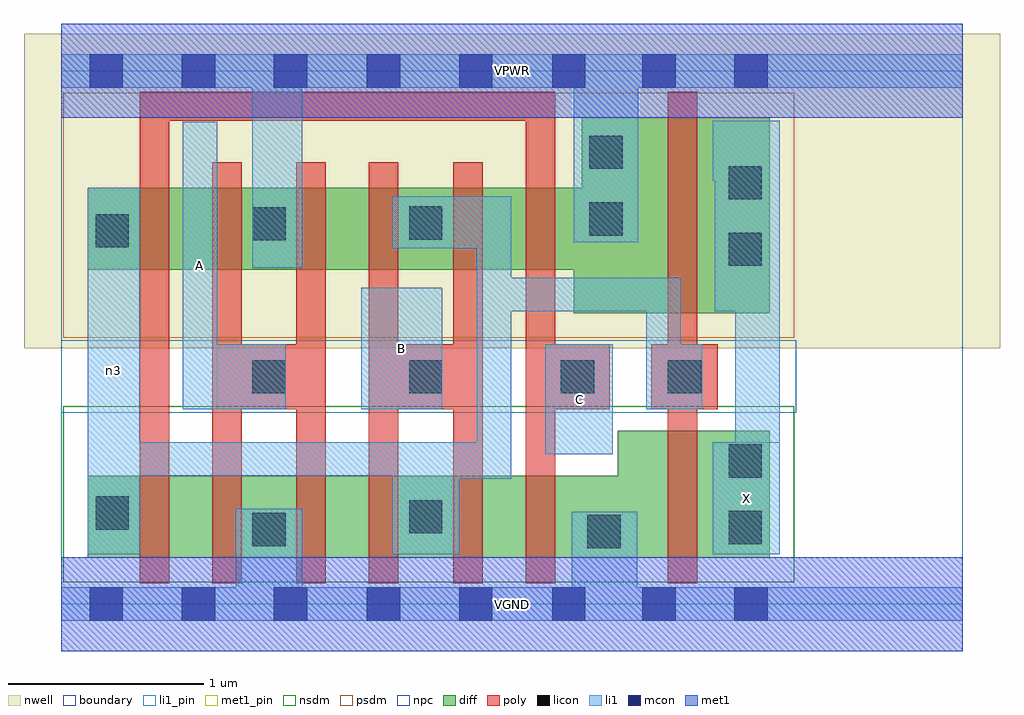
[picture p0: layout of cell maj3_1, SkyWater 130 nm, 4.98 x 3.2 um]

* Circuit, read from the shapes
.subckt maj3_1 A B C VGND VPWR X n3
XM1 n1 C n3 VSUBS sky130_fd_pr__nfet_01v8 w=0.42 l=0.15
XM2 VGND A n1 VSUBS sky130_fd_pr__nfet_01v8 w=0.42 l=0.15
XM3 n2 A VGND VSUBS sky130_fd_pr__nfet_01v8 w=0.42 l=0.15
XM4 n3 B n2 VSUBS sky130_fd_pr__nfet_01v8 w=0.42 l=0.15
XM5 n4 B n3 VSUBS sky130_fd_pr__nfet_01v8 w=0.42 l=0.15
XM6 VGND C n4 VSUBS sky130_fd_pr__nfet_01v8 w=0.42 l=0.15
XM7 X n3 VGND VSUBS sky130_fd_pr__nfet_01v8 w=0.65 l=0.15
XM8 n5 C n3 n6 sky130_fd_pr__pfet_01v8 w=0.42 l=0.15
XM9 VPWR A n5 n6 sky130_fd_pr__pfet_01v8 w=0.42 l=0.15
XM10 n7 A VPWR n6 sky130_fd_pr__pfet_01v8 w=0.42 l=0.15
XM11 n3 B n7 n6 sky130_fd_pr__pfet_01v8 w=0.42 l=0.15
XM12 n8 B n3 n6 sky130_fd_pr__pfet_01v8 w=0.42 l=0.15
XM13 VPWR C n8 n6 sky130_fd_pr__pfet_01v8 w=0.42 l=0.15
XM14 X n3 VPWR n6 sky130_fd_pr__pfet_01v8 w=1 l=0.15
.ends

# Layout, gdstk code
import gdstk
lib = gdstk.Library(unit=1e-6, precision=1e-09)
def R(c, l, rs):  # rectangles x0, y0, x1, y1
    for r in rs: c.add(gdstk.rectangle(r[:2], r[2:], *l))
def A(c, l, x, y, w, h, nx, ny, dx, dy):  # array of equal rectangles
    R(c, l, [(x+i*dx, y+j*dy, x+i*dx+w, y+j*dy+h) for i in range(nx) for j in range(ny)])
nwell = (64, 20)
diff = (65, 20)
poly = (66, 20)
licon = (66, 44)
li1_pin = (67, 16)
li1 = (67, 20)
mcon = (67, 44)
met1_pin = (68, 16)
met1 = (68, 20)
nsdm = (93, 44)
psdm = (94, 20)
npc = (95, 20)
boundary = (235, 4)

maj3_1 = lib.new_cell('maj3_1')
R(maj3_1, nwell, [(-0.19,1.305,4.79,2.91), (0,1.305,4.6,2.91)])
R(maj3_1, diff, [(0.135,0.235,3.615,0.655), (2.84,0.235,3.615,0.885), (2.615,1.485,3.615,2.125), (2.655,1.485,3.615,2.485), (0.135,1.705,3.615,2.125)])
R(maj3_1, poly, [(0.4,0.105,0.55,2.615), (0.77,0.105,0.92,2.255), (1.2,0.105,1.35,2.255), (1.57,0.105,1.72,2.255), (2,0.105,2.15,2.255), (2.37,0.105,2.52,2.615), (3.095,0.105,3.245,2.615), (0.77,0.995,1.35,1.325), (1.57,0.995,2.15,1.325), (2.37,0.995,2.8,1.325), (3.01,0.995,3.35,1.325), (0.4,2.465,2.52,2.615)])
A(maj3_1, licon, 0.975, 0.295, 0.17, 0.17, 1, 3, 0, 0.78)
R(maj3_1, licon, [(2.685,0.285,2.855,0.455), (3.405,0.305,3.575,0.475), (1.775,0.36,1.945,0.53), (0.175,0.38,0.345,0.55), (3.405,0.645,3.575,0.815), (1.775,1.075,1.945,1.245), (2.55,1.075,2.72,1.245), (3.095,1.075,3.265,1.245), (3.405,1.725,3.575,1.895), (0.175,1.82,0.345,1.99), (1.775,1.86,1.945,2.03), (2.695,1.88,2.865,2.05), (3.405,2.065,3.575,2.235), (2.695,2.22,2.865,2.39)])
R(maj3_1, li1_pin, [(3.325,0.255,3.665,0.825), (2.47,0.765,2.815,1.325), (0.62,0.995,0.795,2.46), (1.53,0.995,1.945,1.615)])
R(maj3_1, li1, [(0,-0.085,4.6,0.085), (0.89,-0.085,1.23,0.485), (2.605,-0.085,2.94,0.47), (0.135,0.255,0.4,2.125), (1.69,0.255,2.03,0.825), (3.325,0.255,3.665,0.825), (3.44,0.255,3.665,2.465), (1.69,0.64,2.295,0.825), (2.12,0.64,2.295,2.08), (0.135,0.655,2.295,0.825), (2.47,0.765,2.815,1.325), (0.62,0.995,0.795,2.46), (0.62,0.995,1.145,1.325), (1.53,0.995,1.945,1.615), (2.985,0.995,3.27,1.325), (2.985,0.995,3.16,1.665), (2.12,1.495,3.16,1.665), (3.335,1.495,3.665,2.465), (0.975,1.715,1.23,2.805), (1.69,1.815,2.295,2.08), (2.615,1.845,2.945,2.805), (3.325,2.16,3.665,2.465), (0,2.635,4.6,2.805)])
A(maj3_1, mcon, 0.145, -0.085, 0.17, 0.17, 3, 2, 0.47, 2.72)
R(maj3_1, mcon, [(1.56,-0.085,1.73,0.085), (2.03,-0.085,2.2,0.085), (2.505,-0.085,2.675,0.085), (2.965,-0.085,3.135,0.085), (3.435,-0.085,3.605,0.085), (1.56,2.635,1.73,2.805), (2.03,2.635,2.2,2.805), (2.505,2.635,2.675,2.805), (2.965,2.635,3.135,2.805), (3.435,2.635,3.605,2.805)])
R(maj3_1, met1_pin, [(0,-0.24,4.6,0.24), (0,2.48,4.6,2.96)])
R(maj3_1, met1, [(0,-0.24,4.6,0.24), (0,2.48,4.6,2.96)])
R(maj3_1, nsdm, [(0.01,0.11,3.74,1.01)])
R(maj3_1, psdm, [(0.01,1.36,3.74,2.61)])
R(maj3_1, npc, [(0,0.975,3.75,1.345)])
R(maj3_1, boundary, [(0,0,4.6,2.72)])
maj3_1.add(gdstk.Label('A', (0.707,1.727), layer=67, texttype=5))
maj3_1.add(gdstk.Label('B', (1.737,1.305), layer=67, texttype=5))
maj3_1.add(gdstk.Label('C', (2.642,1.045), layer=67, texttype=5))
maj3_1.add(gdstk.Label('X', (3.495,0.54), layer=67, texttype=5))
maj3_1.add(gdstk.Label('n3', (0.267,1.19), layer=67, texttype=5))
maj3_1.add(gdstk.Label('VPWR', (2.3,2.72), layer=68, texttype=5))
maj3_1.add(gdstk.Label('VGND', (2.3,0), layer=68, texttype=5))
maj3_1.add(gdstk.Label('A', (0.707,1.727), layer=67, texttype=16))
maj3_1.add(gdstk.Label('B', (1.737,1.305), layer=67, texttype=16))
maj3_1.add(gdstk.Label('C', (2.642,1.045), layer=67, texttype=16))
maj3_1.add(gdstk.Label('X', (3.495,0.54), layer=67, texttype=16))
maj3_1.add(gdstk.Label('VPWR', (2.3,2.72), layer=68, texttype=16))
maj3_1.add(gdstk.Label('VGND', (2.3,0), layer=68, texttype=16))

lib.write_gds('maj3_1.gds')
